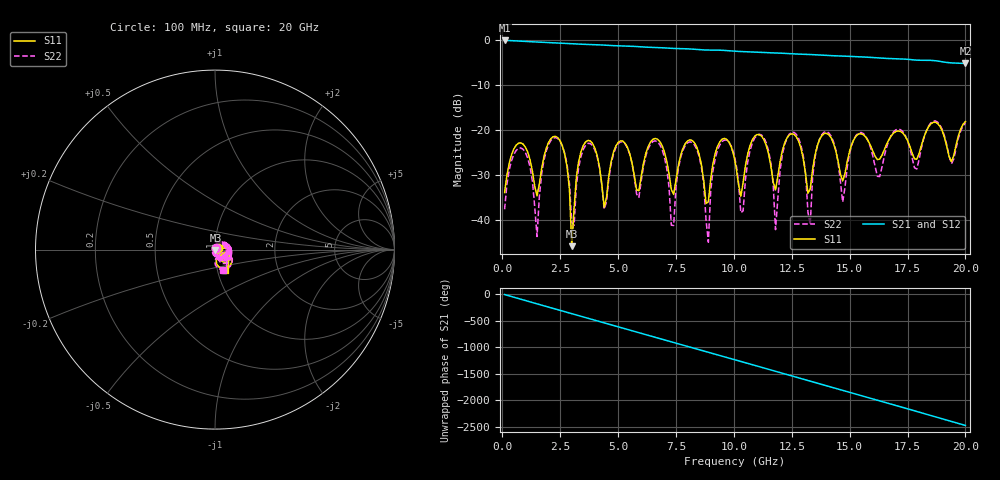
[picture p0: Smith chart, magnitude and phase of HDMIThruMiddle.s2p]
! File created by SignalIntegrity v1.1.13: Signal and Power Integrity Tools
! https://github.com/TeledyneLeCroy/SignalIntegrity
# MHz S MA R 50.0
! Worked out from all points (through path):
!   200 points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, 100 MHz to 20 GHz, reference 50 ohm
!   highest |S21| = -0.06 dB at 100 MHz (marker M1); lowest = -5.2 dB at 20 GHz (marker M2)
!   group delay of S21, straight-line fit = 342 ps
!   lowest |S11| = -45.8 dB at 3 GHz (marker M3), VSWR 1.01, Z = 50.3 - j0.448 ohm
!   |S11| at or under -10 dB: start of sweep to end of sweep
!   |S22| runs from -44.9 to -17.9 dB; largest |S21 - S12| = 0.0076
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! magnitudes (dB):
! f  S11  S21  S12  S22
! 100 MHz  -33.8  -0.1  0.0  -37.6
! 900 MHz  -23.1  -0.3  -0.3  -24.2
! 1.5 GHz  -34.6  -0.4  -0.4  -43.6
! 2.4 GHz  -21.7  -0.6  -0.7  -21.9
! 3 GHz  -45.8  -0.8  -0.8  -40.4
! 3.5 GHz  -23.4  -0.9  -0.9  -24.2
! 4.4 GHz  -37.1  -1.1  -1.1  -37.6
! 5 GHz  -22.7  -1.2  -1.3  -23.0
! 6.8 GHz  -22.5  -1.7  -1.7  -23.2
! 7.4 GHz  -34.3  -1.8  -1.8  -41.2
! 8.4 GHz  -23.8  -2.1  -2.1  -24.3
! 8.9 GHz  -35.9  -2.2  -2.2  -44.9
! 9.3 GHz  -23.5  -2.2  -2.2  -24.4
! 10.1 GHz  -28.3  -2.5  -2.5  -27.6
! 10.4 GHz  -31.7  -2.5  -2.6  -37.9
! 11.3 GHz  -22.1  -2.7  -2.8  -21.7
! 11.8 GHz  -33.3  -2.8  -2.9  -42.1
! 12.4 GHz  -21.0  -3.0  -3.0  -20.9
! 13.3 GHz  -33.0  -3.2  -3.2  -41.0
! 13.4 GHz  -28.8  -3.2  -3.2  -30.6
! 16.7 GHz  -22.0  -4.1  -4.1  -22.2
! 20 GHz  -18.1  -5.2  -5.1  -18.4
